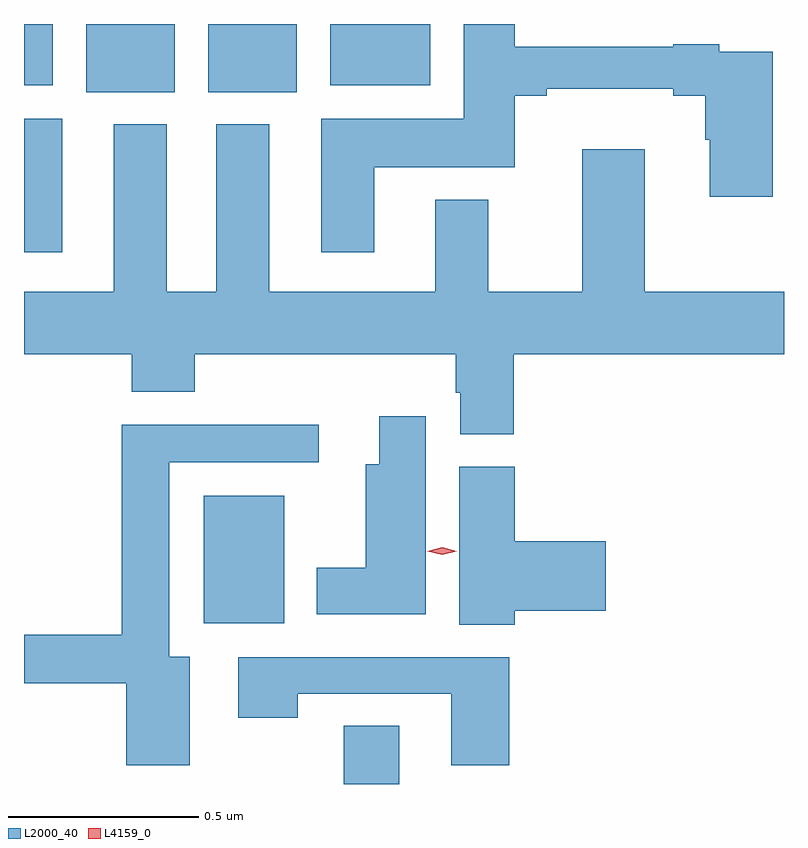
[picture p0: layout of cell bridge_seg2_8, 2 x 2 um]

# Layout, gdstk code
import gdstk
lib = gdstk.Library(unit=1e-6, precision=1e-09)
def R(c, l, rs):  # rectangles x0, y0, x1, y1
    for r in rs: c.add(gdstk.rectangle(r[:2], r[2:], *l))
def P(c, l, *ps):  # polygons
    for p in ps: c.add(gdstk.Polygon(p, *l))
L2000_40 = (2000, 40)
L4159_0 = (4159, 0)

bridge_seg2_8 = lib.new_cell('bridge_seg2_8')
R(bridge_seg2_8, L2000_40, [(691.852,662.489,691.999,662.642), (691.484,662.912,691.696,663.247), (691.011,663.888,691.111,664.24), (691.175,664.31,691.408,664.489), (691.496,664.31,691.729,664.489), (691.011,664.328,691.087,664.489), (691.817,664.328,692.08,664.489)])
P(bridge_seg2_8, L2000_40, [(691.933,664.112),(692.303,664.112),(692.303,664.3),(692.386,664.3),(692.386,664.319),(692.72,664.319),(692.72,664.3),(692.804,664.3),(692.804,664.185),(692.816,664.185),(692.816,664.035),(692.982,664.035),(692.982,664.416),(692.84,664.416),(692.84,664.436),(692.72,664.436),(692.72,664.429),(692.303,664.429),(692.303,664.489),(692.168,664.489),(692.168,664.24),(691.793,664.24),(691.793,663.888),(691.933,663.888)],
  [(692.3,663.62),(693.011,663.62),(693.011,663.784),(692.644,663.784),(692.644,664.159),(692.48,664.159),(692.48,663.784),(692.233,663.784),(692.233,664.027),(692.093,664.027),(692.093,663.784),(691.657,663.784),(691.657,664.225),(691.517,664.225),(691.517,663.784),(691.387,663.784),(691.387,664.225),(691.247,664.225),(691.247,663.784),(691.011,663.784),(691.011,663.62),(691.295,663.62),(691.295,663.521),(691.46,663.521),(691.46,663.62),(692.147,663.62),(692.147,663.519),(692.159,663.519),(692.159,663.409),(692.3,663.409)],
  [(692.068,663.457),(691.946,663.457),(691.946,663.331),(691.91,663.331),(691.91,663.058),(691.781,663.058),(691.781,662.936),(692.068,662.936)],
  [(691.447,662.824),(691.393,662.824),(691.393,663.336),(691.786,663.336),(691.786,663.434),(691.268,663.434),(691.268,662.882),(691.011,662.882),(691.011,662.754),(691.28,662.754),(691.28,662.538),(691.447,662.538)],
  [(692.303,662.945),(692.542,662.945),(692.542,663.128),(692.303,663.128),(692.303,663.324),(692.156,663.324),(692.156,662.908),(692.303,662.908)],
  [(692.288,662.823),(691.575,662.823),(691.575,662.664),(691.731,662.664),(691.731,662.727),(692.135,662.727),(692.135,662.538),(692.288,662.538)])
P(bridge_seg2_8, L4159_0, [(692.111,663.092),(692.072,663.101),(692.072,663.102),(692.072,663.102),(692.111,663.112),(692.15,663.102),(692.15,663.102),(692.15,663.101)])

lib.write_gds('bridge_seg2_8.gds')
